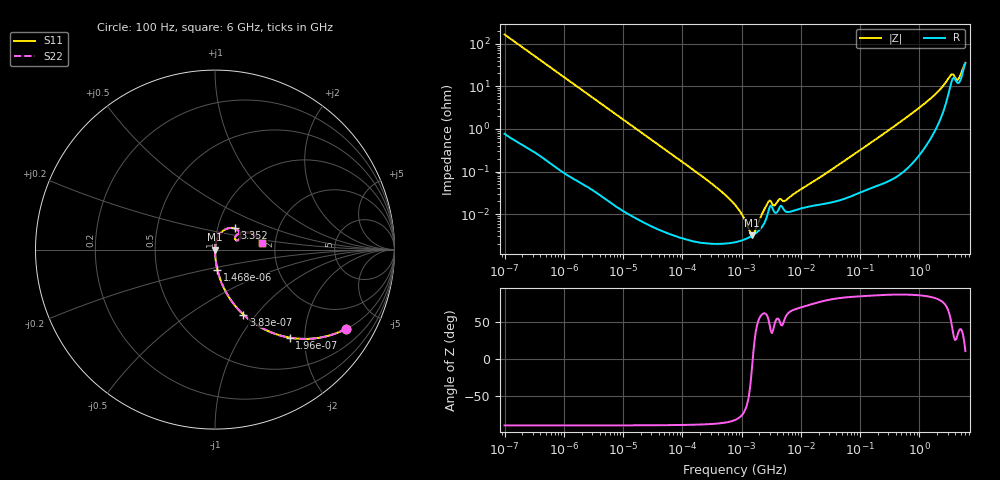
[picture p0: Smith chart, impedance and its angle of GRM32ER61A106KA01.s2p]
!Murata Part Number: GRM32ER61A106KA01
!These Parameters are Measured in Series Mode Connection
!Data Generated on Mar 30, 2021
!  o--ll--o
!Port1  Port2
!  o------o
!Operation Temp=25[degC], DC Bias Voltage=0[V]
!Freq. Start=100[Hz] Stop=6[GHz] 401[Steps]
# Hz S RI R 50
!Freq.(Hz) S11(Real) S11(Imag) S21(Real) S21(Imag) S12(Real) S12(Imag) S22(Real) S22(Imag)
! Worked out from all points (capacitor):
!   401 points, 100 Hz to 6 GHz, reference 50 ohm
!   read as one part in series: C = 9.65 uF near 109 Hz
!   lowest |Z| = 3.17 mohm at 1.516 MHz (marker M1)
!   series resonance near 1.545 MHz, so ESL is about 1.1 nH
!   S11 on the Smith chart (normalised r, x): 100 Hz: 1.02, -3.29; 196 Hz: 1.01, -1.69; 383 Hz: 1.00, -0.86; 1.468 kHz: 1.00, -0.23; 3.352 GHz: 1.21, +0.29; 6 GHz: 1.70, +0.13
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100  0.7296 -0.4418  0.2704 0.4418  0.2704 0.4418  0.7296 -0.4418
196  0.4157 -0.4903  0.5843 0.4903  0.5843 0.4903  0.4157 -0.4903
383  0.1584 -0.3624  0.8416 0.3624  0.8416 0.3624  0.1584 -0.3624
686  0.0563 -0.2278  0.9437 0.2278  0.9437 0.2278  0.0563 -0.2278
1468  0.0133 -0.1116  0.9867 0.1116  0.9867 0.1116  0.0133 -0.1116
2008  0.00732 -0.0822  0.9927 0.0822  0.9927 0.0822  0.00732 -0.0822
40335  6.03e-05 -0.00417  0.9999 0.00417  0.9999 0.00417  6.03e-05 -0.00417
330837  2.03e-05 -0.000489  1 0.000489  1 0.000489  2.03e-05 -0.000489
774597  2.19e-05 -0.000164  1 0.000164  1 0.000164  2.19e-05 -0.000164
1059725  2.47e-05 -8.53e-05  1 8.53e-05  1 8.53e-05  2.47e-05 -8.53e-05
1516199  3.14e-05 -4.2e-06  1 4.2e-06  1 4.2e-06  3.14e-05 -4.2e-06
2074311  4.49e-05 6.95e-05  1 -6.95e-05  1 -6.95e-05  4.49e-05 6.95e-05
2837864  0.000116 0.000157  0.9999 -0.000157  0.9999 -0.000157  0.000116 0.000157
3549919  0.000113 0.000112  0.9999 -0.000112  0.9999 -0.000112  0.000113 0.000112
4440638  0.000148 0.000174  0.9999 -0.000174  0.9999 -0.000174  0.000148 0.000174
5554849  0.000116 0.000176  0.9999 -0.000176  0.9999 -0.000176  0.000116 0.000176
1.555665e7  0.000156 0.000536  0.9998 -0.000536  0.9998 -0.000536  0.000156 0.000536
3.124326e8  0.000696 0.00952  0.9993 -0.00952  0.9993 -0.00952  0.000696 0.00952
1.497423e9  0.00779 0.0486  0.9922 -0.0486  0.9922 -0.0486  0.00779 0.0486
3.352442e9  0.109 0.1183  0.891 -0.1183  0.891 -0.1183  0.109 0.1183
4.586474e9  0.112 0.0694  0.888 -0.0694  0.888 -0.0694  0.112 0.0694
6e9  0.2606 0.0351  0.7394 -0.0351  0.7394 -0.0351  0.2606 0.0351
